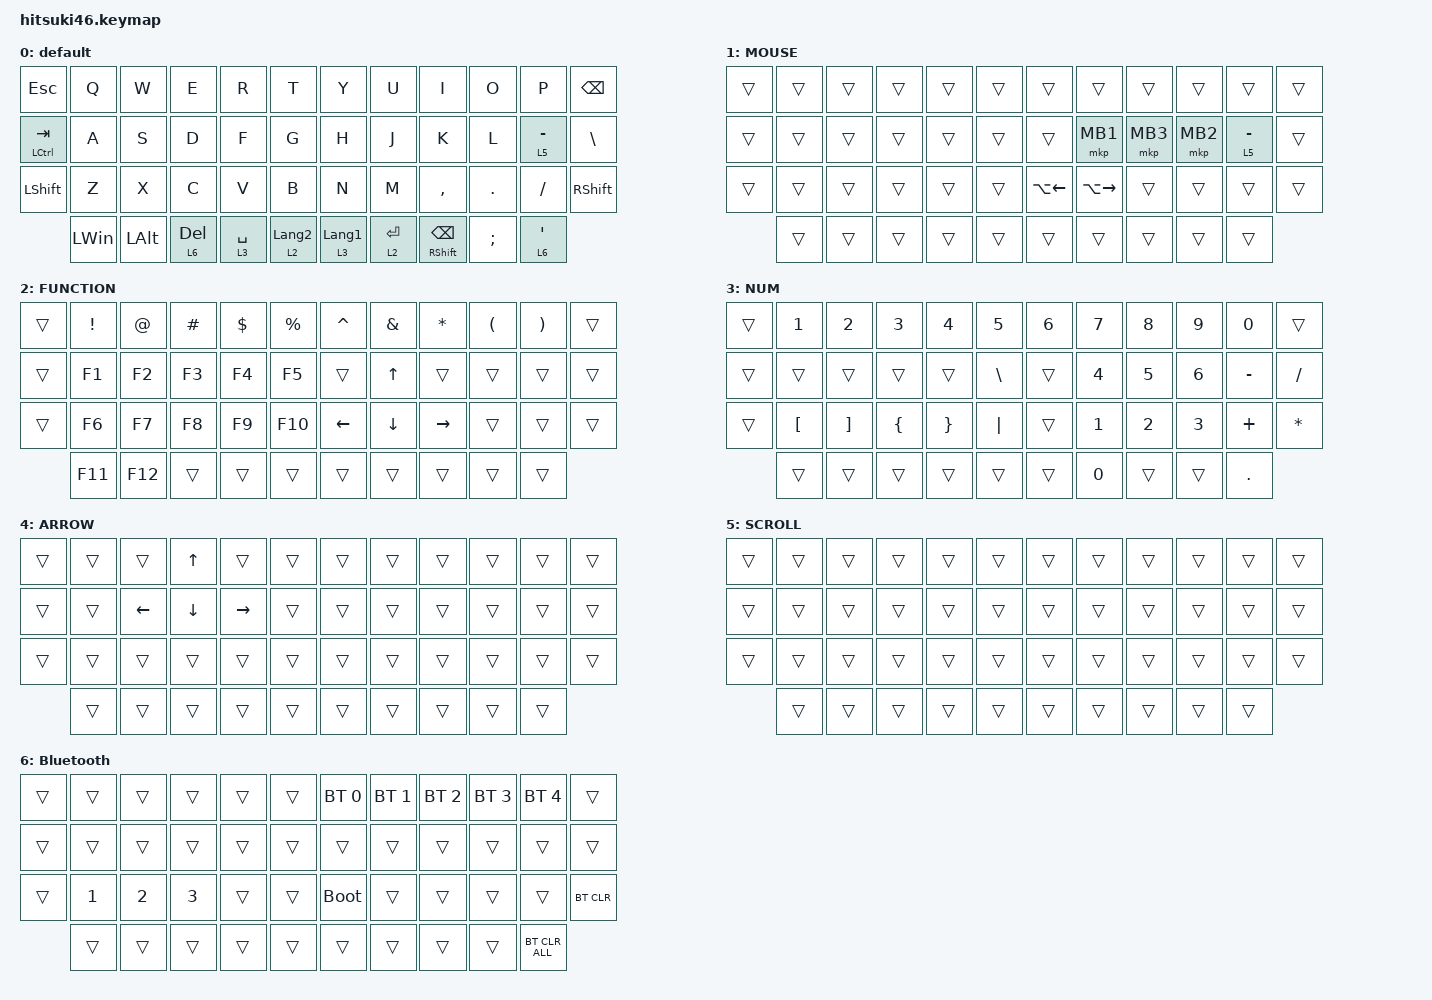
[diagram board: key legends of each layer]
#include <behaviors.dtsi>
#include <dt-bindings/zmk/bt.h>
#include <dt-bindings/zmk/keys.h>
#include <dt-bindings/zmk/pointing.h>

&mt {
    flavor = "balanced";
    quick-tap-ms = <0>;
};

// &trackball {
//     // Note: automouse-layer and scroll-layers are no longer supported in badjeff/zmk-pmw3610-driver
//     // These features should now be configured using layer-based zmk,input-listener in keymap
//     // automouse-layer = <1>;
//     // scroll-layers = <5>;
// };

/ {
    combos {
        compatible = "zmk,combos";

        tab {
            bindings = <&kp TAB>;
            key-positions = <11 12>;
        };

        shift_tab {
            bindings = <&kp LS(TAB)>;
            key-positions = <12 13>;
        };

        muhennkann {
            bindings = <&to_layer_0 INT_MUHENKAN>;
            key-positions = <11 10>;
        };

        double_quotation {
            bindings = <&kp DOUBLE_QUOTES>;
            key-positions = <20 21>;
        };

        eq {
            bindings = <&kp EQUAL>;
            key-positions = <24 25>;
        };
    };

    macros {
        to_layer_0: to_layer_0 {
            compatible = "zmk,behavior-macro-one-param";
            #binding-cells = <1>;
            bindings = <&to 0 &macro_param_1to1 &kp MACRO_PLACEHOLDER>;
            label = "TO_LAYER_0";
        };
    };

    behaviors {
        lt_to_layer_0: lt_to_layer_0 {
            compatible = "zmk,behavior-hold-tap";
            label = "LAYER_TAP_TO_0";
            bindings = <&mo>, <&to_layer_0>;

            #binding-cells = <2>;
            tapping-term-ms = <200>;
        };
    };

    keymap {
        compatible = "zmk,keymap";

        default {
            bindings = <
&kp ESCAPE      &kp Q         &kp W         &kp E         &kp R        &kp T             &kp Y             &kp U        &kp I                 &kp O          &kp P               &kp BACKSPACE
&mt LCTRL TAB   &kp A         &kp S         &kp D         &kp F        &kp G             &kp H             &kp J        &kp K                 &kp L          &lt 5 MINUS         &kp BACKSLASH
&kp LEFT_SHIFT  &kp Z         &kp X         &kp C         &kp V        &kp B             &kp N             &kp M        &kp COMMA             &kp PERIOD     &kp SLASH           &kp RSHFT
                &kp LEFT_WIN  &kp LEFT_ALT  &lt 6 DELETE  &lt 3 SPACE  &lt 2 LANGUAGE_2  &lt 3 LANGUAGE_1  &lt 2 ENTER  &mt RSHIFT BACKSPACE  &kp SEMICOLON  &lt 6 SINGLE_QUOTE
            >;
        };

        MOUSE {
            bindings = <
&trans  &trans  &trans  &trans  &trans  &trans  &trans              &trans               &trans    &trans    &trans       &trans
&trans  &trans  &trans  &trans  &trans  &trans  &trans              &mkp MB1             &mkp MB3  &mkp MB2  &lt 5 MINUS  &trans
&trans  &trans  &trans  &trans  &trans  &trans  &kp LA(LEFT_ARROW)  &kp LA(RIGHT_ARROW)  &trans    &trans    &trans       &trans
        &trans  &trans  &trans  &trans  &trans  &trans              &trans               &trans    &trans    &trans
            >;
        };

        FUNCTION {
            bindings = <
&trans  &kp EXCLAMATION  &kp AT_SIGN  &kp HASH  &kp DOLLAR  &kp PERCENT  &kp CARET       &kp AMPERSAND   &kp ASTERISK     &kp LEFT_PARENTHESIS  &kp RIGHT_PARENTHESIS  &trans
&trans  &kp F1           &kp F2       &kp F3    &kp F4      &kp F5       &trans          &kp UP          &trans           &trans                &trans                 &trans
&trans  &kp F6           &kp F7       &kp F8    &kp F9      &kp F10      &kp LEFT_ARROW  &kp DOWN_ARROW  &kp RIGHT_ARROW  &trans                &trans                 &trans
        &kp F11          &kp F12      &trans    &trans      &trans       &trans          &trans          &trans           &trans                &trans
            >;
        };

        NUM {
            bindings = <
&trans  &kp N1            &kp N2             &kp N3          &kp N4           &kp N5         &kp N6  &kp N7        &kp N8        &kp N9        &kp N0      &trans
&trans  &trans            &trans             &trans          &trans           &kp BACKSLASH  &trans  &kp N4        &kp N5        &kp N6        &kp MINUS   &kp SLASH
&trans  &kp LEFT_BRACKET  &kp RIGHT_BRACKET  &kp LEFT_BRACE  &kp RIGHT_BRACE  &kp PIPE       &trans  &kp NUMBER_1  &kp NUMBER_2  &kp NUMBER_3  &kp PLUS    &kp ASTERISK
        &trans            &trans             &trans          &trans           &trans         &trans  &kp NUMBER_0  &trans        &trans        &kp PERIOD
            >;
        };

        ARROW {
            bindings = <
&trans  &trans  &trans    &kp UP    &trans     &trans  &trans  &trans  &trans  &trans  &trans  &trans
&trans  &trans  &kp LEFT  &kp DOWN  &kp RIGHT  &trans  &trans  &trans  &trans  &trans  &trans  &trans
&trans  &trans  &trans    &trans    &trans     &trans  &trans  &trans  &trans  &trans  &trans  &trans
        &trans  &trans    &trans    &trans     &trans  &trans  &trans  &trans  &trans  &trans
            >;
        };

        SCROLL {
            bindings = <
&trans  &trans  &trans  &trans  &trans  &trans  &trans  &trans  &trans  &trans  &trans  &trans
&trans  &trans  &trans  &trans  &trans  &trans  &trans  &trans  &trans  &trans  &trans  &trans
&trans  &trans  &trans  &trans  &trans  &trans  &trans  &trans  &trans  &trans  &trans  &trans
        &trans  &trans  &trans  &trans  &trans  &trans  &trans  &trans  &trans  &trans
            >;
        };

        Bluetooth {
            bindings = <
&trans  &trans        &trans        &trans        &trans  &trans  &bt BT_SEL 0  &bt BT_SEL 1  &bt BT_SEL 2  &bt BT_SEL 3  &bt BT_SEL 4    &trans
&trans  &trans        &trans        &trans        &trans  &trans  &trans        &trans        &trans        &trans        &trans          &trans
&trans  &kp NUMBER_1  &kp NUMBER_2  &kp NUMBER_3  &trans  &trans  &bootloader   &trans        &trans        &trans        &trans          &bt BT_CLR
        &trans        &trans        &trans        &trans  &trans  &trans        &trans        &trans        &trans        &bt BT_CLR_ALL
            >;
        };
    };
};
